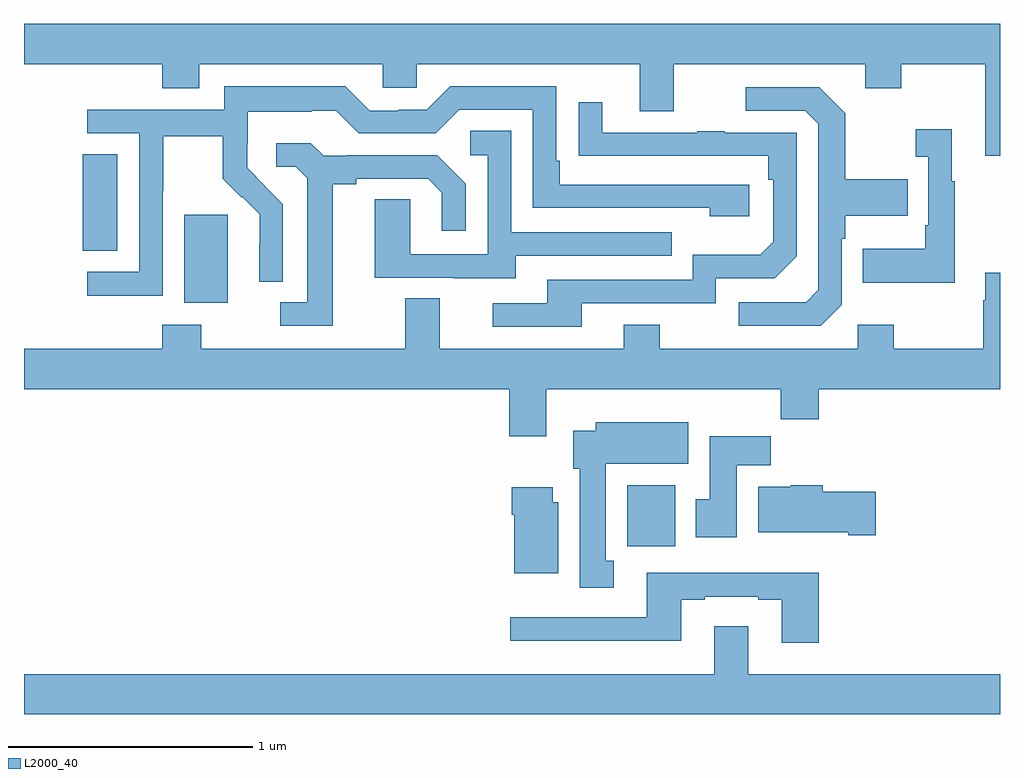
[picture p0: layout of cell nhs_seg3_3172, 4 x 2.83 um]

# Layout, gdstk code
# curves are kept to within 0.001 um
import gdstk
lib = gdstk.Library(unit=1e-6, precision=1e-09)
def R(c, l, rs):  # rectangles x0, y0, x1, y1
    for r in rs: c.add(gdstk.rectangle(r[:2], r[2:], *l))
def P(c, l, *ps):  # polygons
    for p in ps: c.add(gdstk.Polygon(p, *l))
L2000_40 = (2000, 40)

nhs_seg3_3172 = lib.new_cell('nhs_seg3_3172')
R(nhs_seg3_3172, L2000_40, [(277.473,725.58,277.669,725.83), (275.657,726.578,275.836,726.939), (275.24,726.79,275.383,727.187)])
P(nhs_seg3_3172, L2000_40, [(279,727.72),(275,727.72),(275,727.556),(275.567,727.556),(275.567,727.457),(275.719,727.457),(275.719,727.556),(276.471,727.556),(276.471,727.458),(276.609,727.458),(276.609,727.556),(277.523,727.556),(277.523,727.362),(277.663,727.362),(277.663,727.556),(278.447,727.556),(278.447,727.457),(278.595,727.457),(278.595,727.556),(278.939,727.556),(278.939,727.179),(279,727.179)],
  [(275.568,727.036),(275.571,727.036),(275.571,727.26),(275.815,727.26),(275.815,727.085),(275.892,727.008),(275.895,727.011),(275.966,726.941),(275.966,726.818),(275.964,726.818),(275.964,726.664),(276.06,726.664),(276.06,726.982),(275.914,727.13),(275.914,727.227),(275.916,727.227),(275.916,727.361),(276.179,727.361),(276.179,727.365),(276.279,727.365),(276.372,727.272),(276.687,727.272),(276.783,727.368),(277.086,727.368),(277.086,726.966),(277.811,726.966),(277.811,726.932),(277.972,726.932),(277.972,727.062),(277.195,727.062),(277.195,727.159),(277.182,727.159),(277.182,727.464),(276.747,727.464),(276.651,727.368),(276.533,727.368),(276.533,727.365),(276.417,727.365),(276.317,727.465),(275.82,727.465),(275.82,727.368),(275.259,727.368),(275.259,727.272),(275.472,727.272),(275.472,726.705),(275.259,726.705),(275.259,726.607),(275.568,726.607)],
  [(278.352,726.57),(278.352,726.839),(278.365,726.839),(278.365,726.935),(278.621,726.935),(278.621,727.083),(278.365,727.083),(278.365,727.355),(278.259,727.461),(277.959,727.461),(277.959,727.365),(278.202,727.365),(278.256,727.311),(278.256,726.63),(278.205,726.579),(277.929,726.579),(277.929,726.483),(278.265,726.483)],
  [(277.285,726.576),(277.836,726.576),(277.836,726.678),(278.076,726.678),(278.166,726.768),(278.166,727.275),(277.871,727.275),(277.871,727.28),(277.759,727.28),(277.759,727.275),(277.369,727.275),(277.369,727.399),(277.273,727.399),(277.273,727.18),(278.05,727.179),(278.05,727.082),(278.07,727.082),(278.07,726.828),(278.017,726.775),(277.74,726.775),(277.74,726.672),(277.145,726.672),(277.145,726.576),(276.921,726.576),(276.921,726.48),(277.285,726.48)],
  [(278.815,727.075),(278.803,727.075),(278.803,727.288),(278.655,727.288),(278.655,727.175),(278.706,727.175),(278.706,726.895),(278.694,726.895),(278.694,726.799),(278.437,726.799),(278.437,726.659),(278.815,726.659)],
  [(277.015,726.771),(277.655,726.771),(277.655,726.867),(276.996,726.867),(276.996,727.283),(276.828,727.283),(276.828,727.182),(276.9,727.182),(276.9,726.777),(276.582,726.777),(276.582,727.001),(276.437,727.001),(276.437,726.681),(276.761,726.681),(276.761,726.677),(277.015,726.677)],
  [(276.265,727.064),(276.361,727.064),(276.361,727.086),(276.656,727.086),(276.713,727.029),(276.713,726.873),(276.81,726.873),(276.81,727.066),(276.694,727.182),(276.322,727.182),(276.322,727.179),(276.228,727.179),(276.176,727.231),(276.033,727.231),(276.033,727.134),(276.114,727.134),(276.161,727.087),(276.161,726.579),(276.051,726.579),(276.051,726.483),(276.265,726.483)],
  [(278.101,726.1),(278.258,726.1),(278.258,726.224),(279,726.224),(279,726.7),(278.939,726.7),(278.939,726.587),(278.932,726.587),(278.932,726.388),(278.565,726.388),(278.565,726.487),(278.418,726.487),(278.418,726.388),(277.605,726.388),(277.605,726.487),(277.457,726.487),(277.457,726.388),(276.703,726.388),(276.703,726.596),(276.563,726.596),(276.563,726.388),(275.727,726.388),(275.727,726.487),(275.567,726.487),(275.567,726.388),(275,726.388),(275,726.224),(276.989,726.224),(276.989,726.03),(277.141,726.03),(277.141,726.224),(278.101,726.224)],
  [(277.417,725.521),(277.384,725.521),(277.384,725.918),(277.723,725.918),(277.723,726.088),(277.343,726.088),(277.343,726.052),(277.25,726.052),(277.25,725.898),(277.277,725.898),(277.277,725.409),(277.417,725.409)],
  [(277.921,725.912),(278.06,725.912),(278.06,726.03),(277.811,726.03),(277.811,725.772),(277.754,725.772),(277.754,725.616),(277.921,725.616)],
  [(278.491,725.802),(278.273,725.802),(278.273,725.83),(278.142,725.83),(278.142,725.824),(278.009,725.824),(278.009,725.636),(278.378,725.636),(278.378,725.624),(278.491,725.624)],
  [(277.189,725.76),(277.168,725.76),(277.168,725.821),(276.998,725.821),(276.998,725.708),(277.01,725.708),(277.01,725.468),(277.189,725.468)],
  [(278.258,725.47),(277.553,725.47),(277.553,725.289),(276.993,725.289),(276.993,725.192),(277.693,725.192),(277.693,725.361),(277.789,725.361),(277.789,725.373),(278.009,725.373),(278.009,725.361),(278.105,725.361),(278.105,725.184),(278.258,725.184)],
  [(279,725.056),(277.969,725.056),(277.969,725.251),(277.829,725.251),(277.829,725.056),(275,725.056),(275,724.892),(279,724.892)])

lib.write_gds('nhs_seg3_3172.gds')
